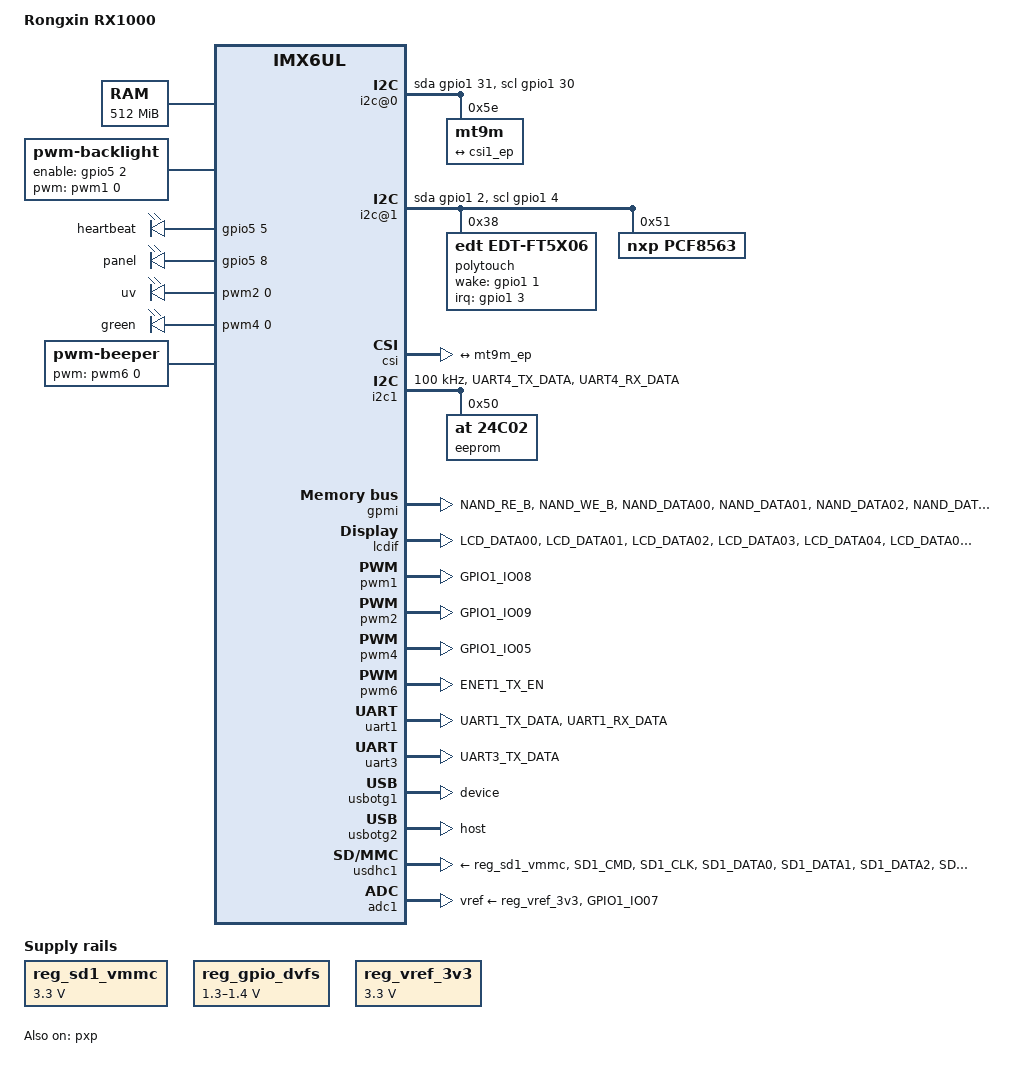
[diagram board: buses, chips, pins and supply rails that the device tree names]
/*
 * Copyright (C) 2015 Freescale Semiconductor, Inc.
 *
 * This program is free software; you can redistribute it and/or modify
 * it under the terms of the GNU General Public License version 2 as
 * published by the Free Software Foundation.
 */

/dts-v1/;

#include <dt-bindings/input/input.h>
#include <dt-bindings/pwm/pwm.h>
#include "imx6ul.dtsi"

/ {
	model = "Rongxin RX1000";
	compatible = "fsl,imx6ul-14x14-evk", "fsl,imx6ul";

	chosen {
		stdout-path = &uart1;
	};

	memory {
		reg = <0x80000000 0x20000000>;
	};

	reserved-memory {
		#address-cells = <1>;
		#size-cells = <1>;
		ranges;

		linux,cma {
			compatible = "shared-dma-pool";
			reusable;
			size = <0x14000000>;
			linux,cma-default;
		};
	};

	backlight {
		compatible = "pwm-backlight";
		pwms = <&pwm1 0 100000 PWM_POLARITY_INVERTED>;
		brightness-levels = <146 149 155 167 191 212 236 255>;
		default-brightness-level = <7>;
		enable-gpios = <&gpio5 2 0>;
		status = "okay";
	};

	pxp_v4l2 {
		compatible = "fsl,imx6ul-pxp-v4l2", "fsl,imx6sx-pxp-v4l2", "fsl,imx6sl-pxp-v4l2";
		status = "okay";
	};

	regulators {
		compatible = "simple-bus";
		#address-cells = <1>;
		#size-cells = <0>;

		reg_sd1_vmmc: regulator@1 {
			compatible = "regulator-fixed";
			regulator-name = "VSD_3V3";
			regulator-min-microvolt = <3300000>;
			regulator-max-microvolt = <3300000>;
		};

		reg_gpio_dvfs: regulator-gpio {
			compatible = "regulator-gpio";
			pinctrl-names = "default";
			pinctrl-0 = <&pinctrl_dvfs>;
			regulator-min-microvolt = <1300000>;
			regulator-max-microvolt = <1400000>;
			regulator-name = "gpio_dvfs";
			regulator-type = "voltage";
			gpios = <&gpio5 3 GPIO_ACTIVE_HIGH>;
			states = <1300000 0x1 1400000 0x0>;
		};

		reg_vref_3v3: regulator@3 {
			compatible = "regulator-fixed";
			regulator-name = "vref-3v3";
			regulator-min-microvolt = <3300000>;
			regulator-max-microvolt = <3300000>;
			reg = <3>;
		};
	};

	i2c@0 {
		compatible = "i2c-gpio";
		gpios = <&gpio1 31 0
			 &gpio1 30 0>;
		#address-cells = <1>;
		#size-cells = <0>;

		//should be 5d, use another address allowing userspace control
		mt9m: mt9m@5e {
			compatible = "mt9m";
			reg = <0x5e>;
			pinctrl-names = "default";
			pinctrl-0 = <&pinctrl_csi1>;
			clocks = <&clks IMX6UL_CLK_CSI>;
			clock-names = "csi_mclk";
			csi_id = <0>;
			mclk = <20000000>;
			mclk_source = <0>;
			status = "okay";
			port {
				mt9m_ep: endpoint {
					remote-endpoint = <&csi1_ep>;
				};
			};
		};
	};

	i2c@1 {
		compatible = "i2c-gpio";
		gpios = <&gpio1 2 0
			 &gpio1 4 0>;
		#address-cells = <1>;
		#size-cells = <0>;

		polytouch: edt-ft5x06@38 {
			// reqd params
			compatible = "edt,edt-ft5x06";
			reg = <0x38>;
			interrupt-parent = <&gpio1>;
			interrupts = <3 IRQ_TYPE_EDGE_FALLING>;
			wake-gpios = <&gpio1 1 0>;
			// optional params
			//pinctrl-names = "default";
			//pinctrl-0 = <&touchscreen_ft5x06_pins>; // MX6QDL_PAD_GPIO_5__GPIO1_IO05
		};

		pcf8563: pcf8563@51 {
			compatible = "nxp,pcf8563";
			reg = <0x51>;
			#clock-cells = <0>;
		};

		/*ft5x06_ts@38 {
			compatible = "ft5x06-ts";
			reg = <0x38>;
            interrupts-extended = <&gpio1 3 IRQ_TYPE_EDGE_FALLING>;
			wakeup-gpios = <&gpio1 3 GPIO_ACTIVE_LOW>;
			//pinctrl-names = "default";
			//pinctrl-0 = <&touchscreen_ft5x06_pins>; // MX6QDL_PAD_GPIO_5__GPIO1_IO05
		};*/
	};

	leds {
		compatible = "gpio-leds";
		pinctrl-names = "default";
		pinctrl-0 = <&pinctrl_leds>;

		heartbeat {
			label = "heartbeat";
			gpios = <&gpio5 5 GPIO_ACTIVE_HIGH>;
			linux,default-trigger = "heartbeat";
		};

		panel {
			label = "panel";
			gpios = <&gpio5 8 GPIO_ACTIVE_HIGH>;
		};
	};

	pwmleds {
		compatible = "pwm-leds";
		green {
			label = "uv";
			pwms = <&pwm2 0 100000 PWM_POLARITY_INVERTED>;
			max-brightness = <255>;
		};

		uv {
			label = "green";
			pwms = <&pwm4 0 100000 PWM_POLARITY_INVERTED>;
			max-brightness = <255>;
		};
	};

	beeper {
		compatible = "pwm-beeper";
		pwms = <&pwm6 0 50000 0>;
	};
};

&cpu0 {
	arm-supply = <&reg_arm>;
	soc-supply = <&reg_soc>;
	dc-supply = <&reg_gpio_dvfs>;
};

&clks {
	assigned-clocks = <&clks IMX6UL_CLK_PLL4_AUDIO_DIV>;
	assigned-clock-rates = <786432000>;
};

&csi {
	status = "okay";

	port {
		csi1_ep: endpoint {
			remote-endpoint = <&mt9m_ep>;
		};
	};
};

&gpc {
	fsl,cpu_pupscr_sw2iso = <0x1>;
	fsl,cpu_pupscr_sw = <0x0>;
	fsl,cpu_pdnscr_iso2sw = <0x1>;
	fsl,cpu_pdnscr_iso = <0x1>;
	fsl,ldo-bypass = <0>; /* DCDC, ldo-enable */
};

&i2c1 {
	clock-frequency = <100000>;
	pinctrl-names = "default";
	pinctrl-0 = <&pinctrl_i2c1>;
	status = "okay";

	eeprom: eeprom@50 {
        compatible = "at,24c02";
        reg = <0x50>;
    };
};

/*&i2c2 {
	clock_frequency = <100000>;
	pinctrl-names = "default";
	pinctrl-0 = <&pinctrl_i2c2>;
	status = "okay";

	codec: wm8960@1a {
		compatible = "wlf,wm8960";
		status = "disabled";
		reg = <0x1a>;
		clocks = <&clks IMX6UL_CLK_SAI2>;
		clock-names = "mclk";
		wlf,shared-lrclk;
	};
};*/

&gpmi {
	pinctrl-names = "default";
	pinctrl-0 = <&pinctrl_nand>;
	status = "okay";
	partition@0{
			label = "boot";
			reg = <0x0000 0x400000>; /*4M*/
	};
	partition@1{
			label = "logo";
			reg = <0x400000 0x200000>; /*2M*/
	};
	partition@2{
			label = "ENV";
			reg = <0x600000 0x100000>; /*1M*/
	};
	partition@3{
			label = "DTB";
			reg = <0x700000 0x300000>; /*1M*/
	};
	partition@4{
			label = "kernel";
			reg = <0xa00000 0x800000>; /*8M*/
	};
	partition@5{
			label = "rootfs";
			reg = <0x1200000 0xee00000>;
	};

};

&lcdif {
	pinctrl-names = "default";
	pinctrl-0 = <&pinctrl_lcdif_dat
		     &pinctrl_lcdif_ctrl>;
	display = <&display0>;
	status = "okay";

	display0: display {
		bits-per-pixel = <24>;
		bus-width = <24>;

		display-timings {
			native-mode = <&timing0>;
			timing0: timing0 {
				clock-frequency = <25000000>;
				hactive = <640>;
				vactive = <480>;
				hfront-porch = <16>;
				hback-porch = <134>;
				hsync-len = <10>;
				vback-porch = <11>;
				vfront-porch = <32>;
				vsync-len = <2>;
				hsync-active = <0>;
				vsync-active = <0>;
				de-active = <1>;
				pixelclk-active = <0>;
			};
		};
	};
};

/* Backlight */
&pwm1 {
	pinctrl-names = "default";
	pinctrl-0 = <&pinctrl_pwm1>;
	status = "okay";
};

/* LED1 */
&pwm2 {
	pinctrl-names = "default";
	pinctrl-0 = <&pinctrl_pwm2>;
	status = "okay";
};

/* LED2 */
&pwm4 {
	pinctrl-names = "default";
	pinctrl-0 = <&pinctrl_pwm4>;
	status = "okay";
};

/* Buzzer */
&pwm6 {
	pinctrl-names = "default";
	pinctrl-0 = <&pinctrl_pwm6>;
	status = "okay";
};

&pxp {
	status = "okay";
};

&tsc {
	pinctrl-names = "default";
	pinctrl-0 = <&pinctrl_tsc>;
	xnur-gpio = <&gpio1 3 GPIO_ACTIVE_LOW>;
	measure-delay-time = <0xffff>;
	pre-charge-time = <0xfff>;
	status = "disabled";
};

&uart1 {
	pinctrl-names = "default";
	pinctrl-0 = <&pinctrl_uart1>;
	status = "okay";
};

&uart3 {
	pinctrl-names = "default";
	pinctrl-0 = <&pinctrl_uart3>;
	fsl,uart-has-rtscts;
	status = "okay";
};

&usbotg1 {
	dr_mode = "device";
	disable-over-current;
	status = "okay";
};

&usbotg2 {
	dr_mode = "host";
	disable-over-current;
	status = "okay";
};

&usbphy1 {
	tx-d-cal = <0x5>;
};

&usbphy2 {
	tx-d-cal = <0x5>;
};

&usdhc1 {
	pinctrl-names = "default", "state_100mhz", "state_200mhz";
	pinctrl-0 = <&pinctrl_usdhc1>;
	pinctrl-1 = <&pinctrl_usdhc1_100mhz>;
	pinctrl-2 = <&pinctrl_usdhc1_200mhz>;
	cd-gpios = <&gpio1 19 GPIO_ACTIVE_LOW>;
	keep-power-in-suspend;
	enable-sdio-wakeup;
	no-1-8-v;
	vmmc-supply = <&reg_sd1_vmmc>;
	status = "okay";
};

&usdhc2 {
	pinctrl-names = "default";
	pinctrl-0 = <&pinctrl_usdhc2>;
	non-removable;
	status = "disabled";
};

&adc1 {
	pinctrl-names = "default";
	pinctrl-0 = <&pinctrl_adc1>;
	vref-supply = <&reg_vref_3v3>;
	status = "okay";
};

&iomuxc {
	pinctrl-names = "default";
	pinctrl-0 = <&pinctrl_hog_1>;

	imx6ul-evk {
		pinctrl_hog_1: hoggrp-1 {
			fsl,pins = <
				MX6UL_PAD_UART1_RTS_B__GPIO1_IO19	0x17059 /* SD1 CD */
				MX6UL_PAD_SNVS_TAMPER0__GPIO5_IO00	0x80000000
				/* MX6UL_PAD_UART4_TX_DATA__GPIO1_IO28	0x1b8b0 */ /* SCL */
				/* MX6UL_PAD_UART4_RX_DATA__GPIO1_IO29	0x1b8b0 */ /* SDA */
				MX6UL_PAD_UART5_TX_DATA__GPIO1_IO30	0x1b8b0 /* SCL */
				MX6UL_PAD_UART5_RX_DATA__GPIO1_IO31	0x1b8b0 /* SDA */
				MX6UL_PAD_GPIO1_IO01__GPIO1_IO01 0x1f8b0 /* WAKE */
				MX6UL_PAD_GPIO1_IO02__GPIO1_IO02 0x1f8b0 /* SDA */
				MX6UL_PAD_GPIO1_IO03__GPIO1_IO03 0x1b0b0 /* INT */
				MX6UL_PAD_GPIO1_IO04__GPIO1_IO04 0x1f8b0 /* SCL */
				MX6UL_PAD_SNVS_TAMPER2__GPIO5_IO02  0x17059 /* BL EN */
			>;
		};

		pinctrl_leds: ledsgrp {
			fsl,pins = <
				/* MX6UL_PAD_GPIO1_IO06__GPIO1_IO06 0x17059 */ /* BL */
				MX6UL_PAD_SNVS_TAMPER5__GPIO5_IO05 0x17059 /* HEARTBEAT */
				MX6UL_PAD_SNVS_TAMPER8__GPIO5_IO08 0x17059 /* PANEL */
			>;
		};

		pinctrl_csi1: csi1grp {
			fsl,pins = <
				MX6UL_PAD_CSI_MCLK__CSI_MCLK		0x1b088
				MX6UL_PAD_CSI_PIXCLK__CSI_PIXCLK	0x1b088
				MX6UL_PAD_CSI_VSYNC__CSI_VSYNC		0x1b088
				MX6UL_PAD_CSI_HSYNC__CSI_HSYNC		0x1b088
				MX6UL_PAD_CSI_DATA00__CSI_DATA02	0x1b088
				MX6UL_PAD_CSI_DATA01__CSI_DATA03	0x1b088
				MX6UL_PAD_CSI_DATA02__CSI_DATA04	0x1b088
				MX6UL_PAD_CSI_DATA03__CSI_DATA05	0x1b088
				MX6UL_PAD_CSI_DATA04__CSI_DATA06	0x1b088
				MX6UL_PAD_CSI_DATA05__CSI_DATA07	0x1b088
				MX6UL_PAD_CSI_DATA06__CSI_DATA08	0x1b088
				MX6UL_PAD_CSI_DATA07__CSI_DATA09	0x1b088
			>;
		};

		pinctrl_dvfs: dvfsgrp {
			fsl,pins = <
				MX6UL_PAD_SNVS_TAMPER3__GPIO5_IO03	0x79
			>;
		};

		pinctrl_flexcan1: flexcan1grp{
			fsl,pins = <
				MX6UL_PAD_UART3_RTS_B__FLEXCAN1_RX	0x1b020
				MX6UL_PAD_UART3_CTS_B__FLEXCAN1_TX	0x1b020
			>;
		};

		pinctrl_flexcan2: flexcan2grp{
			fsl,pins = <
				MX6UL_PAD_UART2_RTS_B__FLEXCAN2_RX	0x1b020
				MX6UL_PAD_UART2_CTS_B__FLEXCAN2_TX	0x1b020
			>;
		};

		pinctrl_i2c1: i2c1grp {
			fsl,pins = <
				MX6UL_PAD_UART4_TX_DATA__I2C1_SCL 0x4001b8b0
				MX6UL_PAD_UART4_RX_DATA__I2C1_SDA 0x4001b8b0
			>;
		};

		/*pinctrl_i2c2: i2c2grp {
			fsl,pins = <
				MX6UL_PAD_UART5_TX_DATA__I2C2_SCL 0x4001b8b0
				MX6UL_PAD_UART5_RX_DATA__I2C2_SDA 0x4001b8b0
			>;
		};*/

		pinctrl_lcdif_dat: lcdifdatgrp {
			fsl,pins = <
				MX6UL_PAD_LCD_DATA00__LCDIF_DATA00  0x79
				MX6UL_PAD_LCD_DATA01__LCDIF_DATA01  0x79
				MX6UL_PAD_LCD_DATA02__LCDIF_DATA02  0x79
				MX6UL_PAD_LCD_DATA03__LCDIF_DATA03  0x79
				MX6UL_PAD_LCD_DATA04__LCDIF_DATA04  0x79
				MX6UL_PAD_LCD_DATA05__LCDIF_DATA05  0x79
				MX6UL_PAD_LCD_DATA06__LCDIF_DATA06  0x79
				MX6UL_PAD_LCD_DATA07__LCDIF_DATA07  0x79
				MX6UL_PAD_LCD_DATA08__LCDIF_DATA08  0x79
				MX6UL_PAD_LCD_DATA09__LCDIF_DATA09  0x79
				MX6UL_PAD_LCD_DATA10__LCDIF_DATA10  0x79
				MX6UL_PAD_LCD_DATA11__LCDIF_DATA11  0x79
				MX6UL_PAD_LCD_DATA12__LCDIF_DATA12  0x79
				MX6UL_PAD_LCD_DATA13__LCDIF_DATA13  0x79
				MX6UL_PAD_LCD_DATA14__LCDIF_DATA14  0x79
				MX6UL_PAD_LCD_DATA15__LCDIF_DATA15  0x79
				MX6UL_PAD_LCD_DATA16__LCDIF_DATA16  0x79
				MX6UL_PAD_LCD_DATA17__LCDIF_DATA17  0x79
				MX6UL_PAD_LCD_DATA18__LCDIF_DATA18  0x79
				MX6UL_PAD_LCD_DATA19__LCDIF_DATA19  0x79
				MX6UL_PAD_LCD_DATA20__LCDIF_DATA20  0x79
				MX6UL_PAD_LCD_DATA21__LCDIF_DATA21  0x79
				MX6UL_PAD_LCD_DATA22__LCDIF_DATA22  0x79
				MX6UL_PAD_LCD_DATA23__LCDIF_DATA23  0x79
			>;
		};

		pinctrl_lcdif_ctrl: lcdifctrlgrp {
			fsl,pins = <
				MX6UL_PAD_LCD_CLK__LCDIF_CLK	    0x79
				MX6UL_PAD_LCD_ENABLE__LCDIF_ENABLE  0x79
				/*MX6UL_PAD_LCD_HSYNC__LCDIF_HSYNC    0x79*/
				MX6UL_PAD_LCD_VSYNC__LCDIF_VSYNC    0x79
				/* used for lcd reset */
				/*MX6UL_PAD_SNVS_TAMPER9__GPIO5_IO09  0x79*/
			>;
		};

		pinctrl_pwm1: pwm1grp {
			fsl,pins = <
				MX6UL_PAD_GPIO1_IO08__PWM1_OUT   0x110b0
			>;
		};

		pinctrl_pwm2: pwm2grp {
			fsl,pins = <
				MX6UL_PAD_GPIO1_IO09__PWM2_OUT   0x110b0
			>;
		};

		pinctrl_pwm4: pwm4grp {
			fsl,pins = <
				MX6UL_PAD_GPIO1_IO05__PWM4_OUT   0x110b0
			>;
		};

		pinctrl_pwm6: pwm6grp {
			fsl,pins = <
				MX6UL_PAD_ENET1_TX_EN__PWM6_OUT   0x110b0
			>;
		};

		pinctrl_qspi: qspigrp {
			fsl,pins = <
				MX6UL_PAD_NAND_WP_B__QSPI_A_SCLK      0x70a1
				MX6UL_PAD_NAND_READY_B__QSPI_A_DATA00 0x70a1
				MX6UL_PAD_NAND_CE0_B__QSPI_A_DATA01   0x70a1
				MX6UL_PAD_NAND_CE1_B__QSPI_A_DATA02   0x70a1
				MX6UL_PAD_NAND_CLE__QSPI_A_DATA03     0x70a1
				MX6UL_PAD_NAND_DQS__QSPI_A_SS0_B      0x70a1
			>;
		};

		pinctrl_spi4: spi4grp {
			fsl,pins = <
				MX6UL_PAD_BOOT_MODE0__GPIO5_IO10	0x70a1
				MX6UL_PAD_BOOT_MODE1__GPIO5_IO11	0x70a1
				MX6UL_PAD_SNVS_TAMPER7__GPIO5_IO07	0x70a1
				MX6UL_PAD_SNVS_TAMPER8__GPIO5_IO08	0x80000000
			>;
		};

		pinctrl_tsc: tscgrp {
			fsl,pins = <
				MX6UL_PAD_GPIO1_IO01__GPIO1_IO01	0xb0
				MX6UL_PAD_GPIO1_IO02__GPIO1_IO02	0xb0
				MX6UL_PAD_GPIO1_IO03__GPIO1_IO03	0xb0
				MX6UL_PAD_GPIO1_IO04__GPIO1_IO04	0xb0
			>;
		};

		pinctrl_uart1: uart1grp {
			fsl,pins = <
				MX6UL_PAD_UART1_TX_DATA__UART1_DCE_TX 0x1b0b1
				MX6UL_PAD_UART1_RX_DATA__UART1_DCE_RX 0x1b0b1
			>;
		};

		pinctrl_uart3: uart3grp {
			fsl,pins = <
				MX6UL_PAD_UART3_TX_DATA__UART3_DCE_TX	0x1b0b1
				MX6UL_PAD_UART3_TX_DATA__UART3_DTE_RX	0x1b0b1
			>;
		};

		pinctrl_usdhc1: usdhc1grp {
			fsl,pins = <
				MX6UL_PAD_SD1_CMD__USDHC1_CMD     0x17059
				MX6UL_PAD_SD1_CLK__USDHC1_CLK     0x10071
				MX6UL_PAD_SD1_DATA0__USDHC1_DATA0 0x17059
				MX6UL_PAD_SD1_DATA1__USDHC1_DATA1 0x17059
				MX6UL_PAD_SD1_DATA2__USDHC1_DATA2 0x17059
				MX6UL_PAD_SD1_DATA3__USDHC1_DATA3 0x17059
			>;
		};

		pinctrl_usdhc1_100mhz: usdhc1grp100mhz {
			fsl,pins = <
				MX6UL_PAD_SD1_CMD__USDHC1_CMD     0x170b9
				MX6UL_PAD_SD1_CLK__USDHC1_CLK     0x100b9
				MX6UL_PAD_SD1_DATA0__USDHC1_DATA0 0x170b9
				MX6UL_PAD_SD1_DATA1__USDHC1_DATA1 0x170b9
				MX6UL_PAD_SD1_DATA2__USDHC1_DATA2 0x170b9
				MX6UL_PAD_SD1_DATA3__USDHC1_DATA3 0x170b9
			>;
		};

		pinctrl_usdhc1_200mhz: usdhc1grp200mhz {
			fsl,pins = <
				MX6UL_PAD_SD1_CMD__USDHC1_CMD     0x170f9
				MX6UL_PAD_SD1_CLK__USDHC1_CLK     0x100f9
				MX6UL_PAD_SD1_DATA0__USDHC1_DATA0 0x170f9
				MX6UL_PAD_SD1_DATA1__USDHC1_DATA1 0x170f9
				MX6UL_PAD_SD1_DATA2__USDHC1_DATA2 0x170f9
				MX6UL_PAD_SD1_DATA3__USDHC1_DATA3 0x170f9
			>;
		};

		pinctrl_usdhc2: usdhc2grp {
			fsl,pins = <
				MX6UL_PAD_NAND_RE_B__USDHC2_CLK     0x10069
				MX6UL_PAD_NAND_WE_B__USDHC2_CMD     0x17059
				MX6UL_PAD_NAND_DATA00__USDHC2_DATA0 0x17059
				MX6UL_PAD_NAND_DATA01__USDHC2_DATA1 0x17059
				MX6UL_PAD_NAND_DATA02__USDHC2_DATA2 0x17059
				MX6UL_PAD_NAND_DATA03__USDHC2_DATA3 0x17059
			>;
		};

		pinctrl_usdhc2_8bit: usdhc2grp_8bit {
			fsl,pins = <
				MX6UL_PAD_NAND_RE_B__USDHC2_CLK     0x10069
				MX6UL_PAD_NAND_WE_B__USDHC2_CMD     0x17059
				MX6UL_PAD_NAND_DATA00__USDHC2_DATA0 0x17059
				MX6UL_PAD_NAND_DATA01__USDHC2_DATA1 0x17059
				MX6UL_PAD_NAND_DATA02__USDHC2_DATA2 0x17059
				MX6UL_PAD_NAND_DATA03__USDHC2_DATA3 0x17059
				MX6UL_PAD_NAND_DATA04__USDHC2_DATA4 0x17059
				MX6UL_PAD_NAND_DATA05__USDHC2_DATA5 0x17059
				MX6UL_PAD_NAND_DATA06__USDHC2_DATA6 0x17059
				MX6UL_PAD_NAND_DATA07__USDHC2_DATA7 0x17059
			>;
		};

		pinctrl_usdhc2_8bit_100mhz: usdhc2grp_8bit_100mhz {
			fsl,pins = <
				MX6UL_PAD_NAND_RE_B__USDHC2_CLK     0x100b9
				MX6UL_PAD_NAND_WE_B__USDHC2_CMD     0x170b9
				MX6UL_PAD_NAND_DATA00__USDHC2_DATA0 0x170b9
				MX6UL_PAD_NAND_DATA01__USDHC2_DATA1 0x170b9
				MX6UL_PAD_NAND_DATA02__USDHC2_DATA2 0x170b9
				MX6UL_PAD_NAND_DATA03__USDHC2_DATA3 0x170b9
				MX6UL_PAD_NAND_DATA04__USDHC2_DATA4 0x170b9
				MX6UL_PAD_NAND_DATA05__USDHC2_DATA5 0x170b9
				MX6UL_PAD_NAND_DATA06__USDHC2_DATA6 0x170b9
				MX6UL_PAD_NAND_DATA07__USDHC2_DATA7 0x170b9
			>;
		};

		pinctrl_usdhc2_8bit_200mhz: usdhc2grp_8bit_200mhz {
			fsl,pins = <
				MX6UL_PAD_NAND_RE_B__USDHC2_CLK     0x100f9
				MX6UL_PAD_NAND_WE_B__USDHC2_CMD     0x170f9
				MX6UL_PAD_NAND_DATA00__USDHC2_DATA0 0x170f9
				MX6UL_PAD_NAND_DATA01__USDHC2_DATA1 0x170f9
				MX6UL_PAD_NAND_DATA02__USDHC2_DATA2 0x170f9
				MX6UL_PAD_NAND_DATA03__USDHC2_DATA3 0x170f9
				MX6UL_PAD_NAND_DATA04__USDHC2_DATA4 0x170f9
				MX6UL_PAD_NAND_DATA05__USDHC2_DATA5 0x170f9
				MX6UL_PAD_NAND_DATA06__USDHC2_DATA6 0x170f9
				MX6UL_PAD_NAND_DATA07__USDHC2_DATA7 0x170f9
			>;
		};

		pinctrl_nand: nandgrp {
			fsl,pins = <
				MX6UL_PAD_NAND_RE_B__RAWNAND_RE_B 0x70a1
				MX6UL_PAD_NAND_WE_B__RAWNAND_WE_B 0x70a1
				MX6UL_PAD_NAND_DATA00__RAWNAND_DATA00 0x70a1
				MX6UL_PAD_NAND_DATA01__RAWNAND_DATA01 0x70a1
				MX6UL_PAD_NAND_DATA02__RAWNAND_DATA02 0x70a1
				MX6UL_PAD_NAND_DATA03__RAWNAND_DATA03 0x70a1
				MX6UL_PAD_NAND_DATA04__RAWNAND_DATA04 0x70a1
				MX6UL_PAD_NAND_DATA05__RAWNAND_DATA05 0x70a1
				MX6UL_PAD_NAND_DATA06__RAWNAND_DATA06 0x70a1
				MX6UL_PAD_NAND_DATA07__RAWNAND_DATA07 0x70a1
				MX6UL_PAD_NAND_ALE__RAWNAND_ALE 0x70a1
				MX6UL_PAD_NAND_WP_B__RAWNAND_WP_B 0x70a1
				MX6UL_PAD_NAND_READY_B__RAWNAND_READY_B 0x70a1
				MX6UL_PAD_NAND_CE0_B__RAWNAND_CE0_B 0x70a1
				MX6UL_PAD_NAND_CLE__RAWNAND_CLE 0x70a1
			>;
		};

		pinctrl_usb_otg1_id: usbotg1idgrp {
			fsl,pins = <
	 			MX6UL_PAD_GPIO1_IO00__ANATOP_OTG1_ID 0x17059
			>;
	  	};

		pinctrl_usb_otg1: usbotg1grp {
			fsl,pins = <
				MX6UL_PAD_LCD_HSYNC__GPIO3_IO02	0x10b0
			>;
		};

		touchscreen_ft5x06_pins: tx28-edt-ft5x06-pins {
 			fsl,pins = <
 				MX6UL_PAD_GPIO1_IO03__GPIO1_IO03 0x0001B0B0
				MX6UL_PAD_GPIO1_IO04__GPIO1_IO04 0x1f8b0
 			>;
		};

		pinctrl_adc1: adc1grp {
			fsl,pins = <
				MX6UL_PAD_GPIO1_IO07__GPIO1_IO07 0xb0
			>;
		};
	};
};
